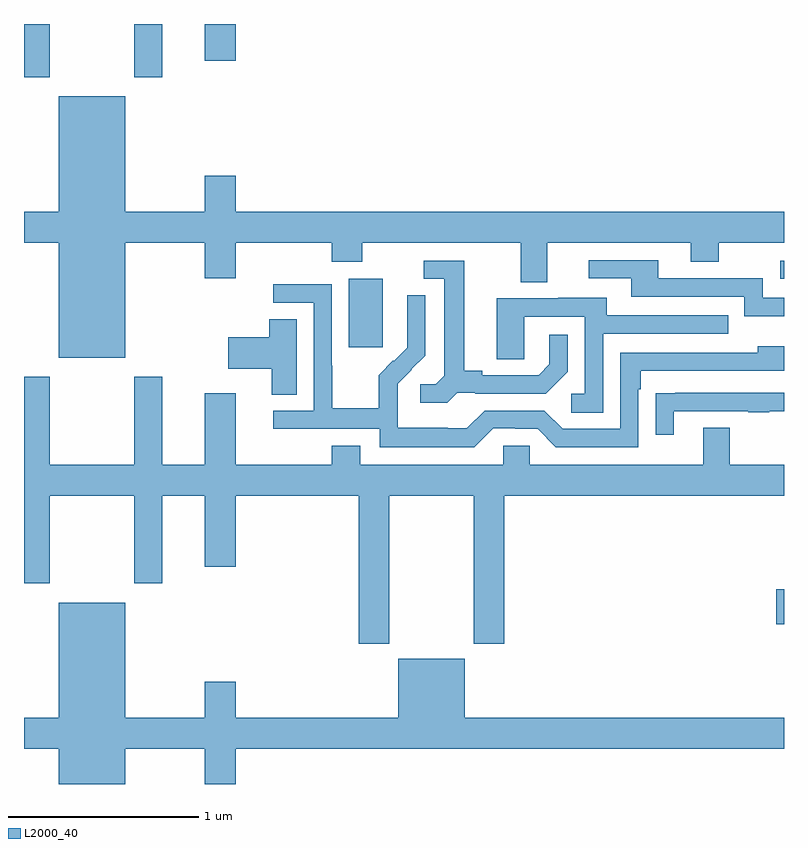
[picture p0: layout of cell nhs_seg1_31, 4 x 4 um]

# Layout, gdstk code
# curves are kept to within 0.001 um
import gdstk
lib = gdstk.Library(unit=1e-6, precision=1e-09)
def R(c, l, rs):  # rectangles x0, y0, x1, y1
    for r in rs: c.add(gdstk.rectangle(r[:2], r[2:], *l))
def P(c, l, *ps):  # polygons
    for p in ps: c.add(gdstk.Polygon(p, *l))
L2000_40 = (2000, 40)

nhs_seg1_31 = lib.new_cell('nhs_seg1_31')
R(nhs_seg1_31, L2000_40, [(114.96,567.041,115,567.224), (112.709,568.497,112.888,568.858), (114.981,568.857,115,568.953), (111,569.919,111.135,570.199), (111.58,569.919,111.727,570.199), (111.95,570.006,112.114,570.199)])
P(nhs_seg1_31, L2000_40, [(111.532,569.048),(111.95,569.048),(111.95,568.86),(112.114,568.86),(112.114,569.048),(112.619,569.048),(112.619,568.949),(112.779,568.949),(112.779,569.048),(113.615,569.048),(113.615,568.84),(113.755,568.84),(113.755,569.048),(114.509,569.048),(114.509,568.949),(114.657,568.949),(114.657,569.048),(115,569.048),(115,569.212),(112.114,569.212),(112.114,569.401),(111.95,569.401),(111.95,569.212),(111.532,569.212),(111.532,569.818),(111.182,569.818),(111.182,569.212),(111,569.212),(111,569.048),(111.182,569.048),(111.182,568.442),(111.532,568.442)],
  [(115,568.758),(114.888,568.758),(114.888,568.86),(114.337,568.86),(114.337,568.956),(113.973,568.956),(113.973,568.86),(114.197,568.86),(114.197,568.764),(114.792,568.764),(114.792,568.661),(115,568.661)],
  [(113.28,568.257),(113.374,568.257),(113.374,568.254),(113.746,568.254),(113.862,568.37),(113.862,568.564),(113.765,568.564),(113.765,568.407),(113.708,568.35),(113.413,568.35),(113.413,568.373),(113.317,568.373),(113.317,568.953),(113.103,568.953),(113.103,568.857),(113.213,568.857),(113.213,568.349),(113.166,568.302),(113.085,568.302),(113.085,568.205),(113.228,568.205)],
  [(113.469,568.071),(113.585,568.071),(113.585,568.068),(113.703,568.068),(113.799,567.972),(114.234,567.972),(114.234,568.277),(114.247,568.277),(114.247,568.374),(115,568.374),(115,568.504),(114.863,568.504),(114.863,568.47),(114.138,568.47),(114.138,568.068),(113.835,568.068),(113.739,568.164),(113.424,568.164),(113.331,568.071),(113.231,568.071),(113.231,568.075),(112.968,568.075),(112.968,568.209),(112.966,568.209),(112.966,568.306),(113.112,568.454),(113.112,568.772),(113.016,568.772),(113.016,568.618),(113.018,568.618),(113.018,568.496),(112.947,568.425),(112.944,568.428),(112.867,568.351),(112.867,568.177),(112.623,568.177),(112.623,568.4),(112.62,568.4),(112.62,568.83),(112.311,568.83),(112.311,568.731),(112.524,568.731),(112.524,568.164),(112.311,568.164),(112.311,568.068),(112.872,568.068),(112.872,567.971),(113.369,567.971)],
  [(114.048,568.569),(114.707,568.569),(114.707,568.665),(114.067,568.665),(114.067,568.759),(113.813,568.759),(113.813,568.755),(113.489,568.755),(113.489,568.435),(113.634,568.435),(113.634,568.659),(113.952,568.659),(113.952,568.254),(113.88,568.254),(113.88,568.153),(114.048,568.153)],
  [(112.435,568.646),(112.292,568.646),(112.292,568.551),(112.074,568.551),(112.074,568.385),(112.304,568.385),(112.304,568.249),(112.435,568.249)],
  [(112.923,567.716),(113.368,567.716),(113.368,566.937),(113.528,566.937),(113.528,567.716),(115,567.716),(115,567.88),(114.715,567.88),(114.715,568.075),(114.575,568.075),(114.575,567.88),(113.661,567.88),(113.661,567.978),(113.523,567.978),(113.523,567.88),(112.771,567.88),(112.771,567.979),(112.619,567.979),(112.619,567.88),(112.114,567.88),(112.114,568.255),(111.95,568.255),(111.95,567.88),(111.727,567.88),(111.727,568.342),(111.58,568.342),(111.58,567.88),(111.135,567.88),(111.135,568.342),(111,568.342),(111,567.255),(111.135,567.255),(111.135,567.716),(111.58,567.716),(111.58,567.255),(111.727,567.255),(111.727,567.716),(111.95,567.716),(111.95,567.342),(112.114,567.342),(112.114,567.716),(112.763,567.716),(112.763,566.937),(112.923,566.937)],
  [(114.421,568.161),(114.811,568.161),(114.811,568.156),(114.923,568.156),(114.923,568.161),(115,568.161),(115,568.257),(114.427,568.257),(114.427,568.256),(114.325,568.256),(114.325,568.038),(114.421,568.038)],
  [(111.532,566.384),(111.95,566.384),(111.95,566.199),(112.114,566.199),(112.114,566.384),(115,566.384),(115,566.548),(113.32,566.548),(113.32,566.857),(112.97,566.857),(112.97,566.548),(112.114,566.548),(112.114,566.737),(111.95,566.737),(111.95,566.548),(111.532,566.548),(111.532,567.154),(111.182,567.154),(111.182,566.548),(111,566.548),(111,566.384),(111.182,566.384),(111.182,566.199),(111.532,566.199)])

lib.write_gds('nhs_seg1_31.gds')
